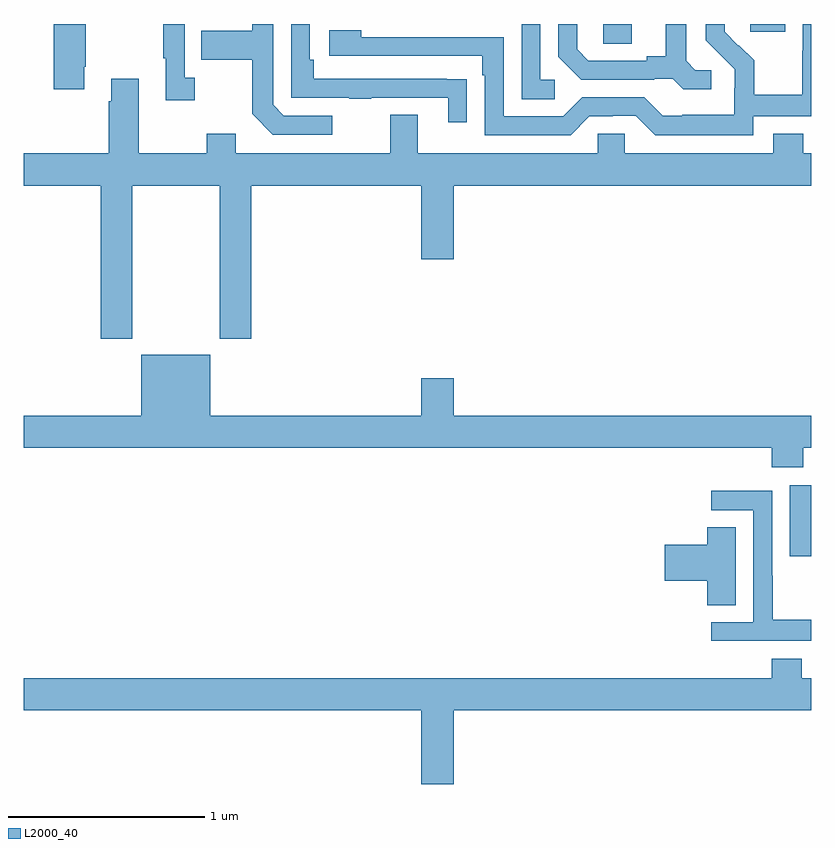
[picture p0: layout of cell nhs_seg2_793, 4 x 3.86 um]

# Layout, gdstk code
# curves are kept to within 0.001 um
import gdstk
lib = gdstk.Library(unit=1e-6, precision=1e-09)
def R(c, l, rs):  # rectangles x0, y0, x1, y1
    for r in rs: c.add(gdstk.rectangle(r[:2], r[2:], *l))
def P(c, l, *ps):  # polygons
    for p in ps: c.add(gdstk.Polygon(p, *l))
L2000_40 = (2000, 40)

nhs_seg2_793 = lib.new_cell('nhs_seg2_793')
R(nhs_seg2_793, L2000_40, [(154.889,635.097,155,635.458), (153.942,637.699,154.087,637.8), (154.688,637.761,154.867,637.8)])
P(nhs_seg2_793, L2000_40, [(154.704,637.332),(155,637.332),(155,637.8),(154.956,637.8),(154.956,637.664),(154.954,637.664),(154.954,637.441),(154.709,637.441),(154.709,637.615),(154.632,637.692),(154.629,637.689),(154.559,637.76),(154.559,637.8),(154.464,637.8),(154.464,637.718),(154.61,637.57),(154.61,637.473),(154.608,637.473),(154.608,637.339),(154.345,637.339),(154.345,637.335),(154.245,637.335),(154.152,637.428),(153.837,637.428),(153.741,637.332),(153.438,637.332),(153.438,637.734),(152.714,637.734),(152.714,637.768),(152.553,637.768),(152.553,637.638),(153.329,637.638),(153.329,637.541),(153.342,637.541),(153.342,637.236),(153.777,637.236),(153.873,637.332),(153.992,637.332),(153.992,637.335),(154.107,637.335),(154.207,637.235),(154.704,637.235)],
  [(153.251,637.52),(153.149,637.52),(153.149,637.521),(152.474,637.521),(152.474,637.618),(152.454,637.618),(152.454,637.8),(152.358,637.8),(152.358,637.425),(152.653,637.425),(152.653,637.42),(152.765,637.42),(152.765,637.425),(153.155,637.425),(153.155,637.302),(153.251,637.302)],
  [(152.566,637.335),(152.322,637.335),(152.268,637.389),(152.268,637.8),(152.16,637.8),(152.16,637.765),(151.903,637.765),(151.903,637.618),(152.16,637.618),(152.16,637.345),(152.265,637.239),(152.566,637.239)],
  [(154.492,637.566),(154.41,637.566),(154.363,637.613),(154.363,637.8),(154.259,637.8),(154.259,637.637),(154.163,637.637),(154.163,637.614),(153.868,637.614),(153.811,637.671),(153.811,637.8),(153.714,637.8),(153.714,637.634),(153.83,637.518),(154.202,637.518),(154.202,637.521),(154.296,637.521),(154.348,637.469),(154.492,637.469)],
  [(151.87,637.526),(151.818,637.526),(151.818,637.8),(151.71,637.8),(151.71,637.625),(151.721,637.625),(151.721,637.413),(151.87,637.413)],
  [(153.697,637.518),(153.624,637.518),(153.624,637.8),(153.528,637.8),(153.528,637.417),(153.697,637.417)],
  [(151.309,637.582),(151.317,637.582),(151.317,637.8),(151.154,637.8),(151.154,637.47),(151.309,637.47)],
  [(151.551,636.98),(151.996,636.98),(151.996,636.201),(152.156,636.201),(152.156,636.98),(153.02,636.98),(153.02,636.606),(153.184,636.606),(153.184,636.98),(155,636.98),(155,637.144),(154.958,637.144),(154.958,637.243),(154.805,637.243),(154.805,637.144),(154.053,637.144),(154.053,637.242),(153.915,637.242),(153.915,637.144),(153.001,637.144),(153.001,637.339),(152.861,637.339),(152.861,637.144),(152.077,637.144),(152.077,637.243),(151.93,637.243),(151.93,637.144),(151.585,637.144),(151.585,637.522),(151.445,637.522),(151.445,637.409),(151.433,637.409),(151.433,637.144),(151,637.144),(151,636.98),(151.391,636.98),(151.391,636.201),(151.551,636.201)],
  [(154.959,635.648),(155,635.648),(155,635.812),(153.184,635.812),(153.184,636.001),(153.02,636.001),(153.02,635.812),(151.948,635.812),(151.948,636.121),(151.598,636.121),(151.598,635.812),(151,635.812),(151,635.648),(154.799,635.648),(154.799,635.549),(154.959,635.549)],
  [(155,634.777),(154.803,634.777),(154.803,635),(154.8,635),(154.8,635.43),(154.491,635.43),(154.491,635.331),(154.704,635.331),(154.704,634.764),(154.491,634.764),(154.491,634.668),(155,634.668)],
  [(154.615,635.246),(154.472,635.246),(154.472,635.156),(154.254,635.156),(154.254,634.973),(154.472,634.973),(154.472,634.849),(154.615,634.849)],
  [(153.184,634.316),(155,634.316),(155,634.48),(154.951,634.48),(154.951,634.579),(154.799,634.579),(154.799,634.48),(151,634.48),(151,634.316),(153.02,634.316),(153.02,633.942),(153.184,633.942)])

lib.write_gds('nhs_seg2_793.gds')
